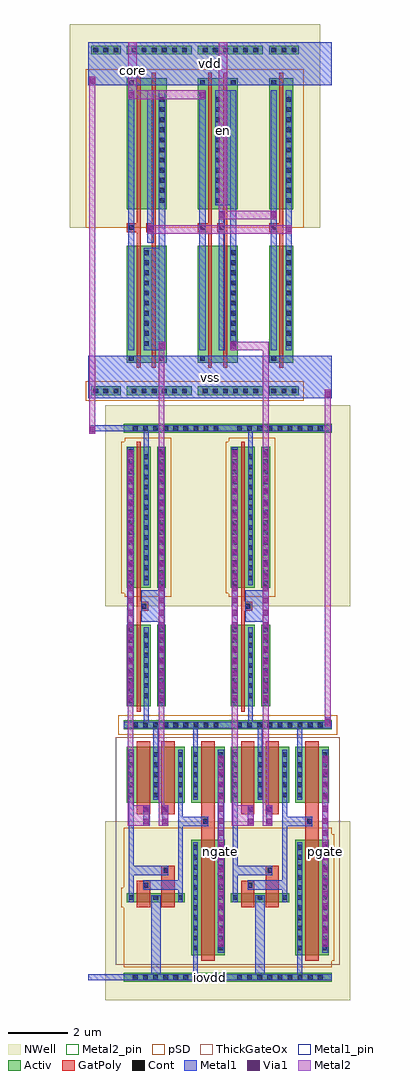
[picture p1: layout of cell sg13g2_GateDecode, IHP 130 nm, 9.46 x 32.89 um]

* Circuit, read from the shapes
.subckt sg13g2_GateDecode core en iovdd ngate pgate vdd vss
XM1 vss n1 n2 vss sg13_hv_nmos w=1.9u l=0.45u
XM2 vss sg13g2_LevelUp_4/i n1 vss sg13_lv_nmos w=2.75u l=0.13u
XM3 sg13g2_LevelUp_4/i core vss vss sg13_lv_nmos w=3.93u l=0.13u
XM4 vss sg13g2_io_nor2_x1_1/i1 sg13g2_LevelUp_4/i vss sg13_lv_nmos w=3.93u l=0.13u
XM5 n3 sg13g2_LevelUp_4/i vss vss sg13_hv_nmos w=1.9u l=0.45u
XM6 ngate n3 vss vss sg13_hv_nmos w=1.9u l=0.45u
XM7 n4 core vss vss sg13_lv_nmos w=3.93u l=0.13u
XM8 sg13g2_LevelUp_5/i en n4 vss sg13_lv_nmos w=3.93u l=0.13u
XM9 vss n5 n6 vss sg13_hv_nmos w=1.9u l=0.45u
XM10 vss sg13g2_LevelUp_5/i n5 vss sg13_lv_nmos w=2.75u l=0.13u
XM11 n7 sg13g2_LevelUp_5/i vss vss sg13_hv_nmos w=1.9u l=0.45u
XM12 sg13g2_io_nor2_x1_1/i1 en vss vss sg13_lv_nmos w=3.93u l=0.13u
XM13 pgate n7 vss vss sg13_hv_nmos w=1.9u l=0.45u
XM14 iovdd n3 n2 iovdd sg13_hv_pmos w=0.3u l=0.45u
XM15 vdd sg13g2_LevelUp_4/i n1 vdd sg13_lv_pmos w=4.75u l=0.13u
XM16 n8 core vdd vdd sg13_lv_pmos w=4.41u l=0.13u
XM17 sg13g2_LevelUp_4/i sg13g2_io_nor2_x1_1/i1 n8 vdd sg13_lv_pmos w=4.41u l=0.13u
XM18 n3 n2 iovdd iovdd sg13_hv_pmos w=0.3u l=0.45u
XM19 ngate n3 iovdd iovdd sg13_hv_pmos w=3.9u l=0.45u
XM20 sg13g2_LevelUp_5/i core vdd vdd sg13_lv_pmos w=4.41u l=0.13u
XM21 vdd en sg13g2_LevelUp_5/i vdd sg13_lv_pmos w=4.41u l=0.13u
XM22 iovdd n7 n6 iovdd sg13_hv_pmos w=0.3u l=0.45u
XM23 vdd sg13g2_LevelUp_5/i n5 vdd sg13_lv_pmos w=4.75u l=0.13u
XM24 n7 n6 iovdd iovdd sg13_hv_pmos w=0.3u l=0.45u
XM25 sg13g2_io_nor2_x1_1/i1 en vdd vdd sg13_lv_pmos w=4.41u l=0.13u
XM26 pgate n7 iovdd iovdd sg13_hv_pmos w=3.9u l=0.45u
.ends

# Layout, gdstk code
import gdstk
lib = gdstk.Library(unit=1e-6, precision=1e-09)
def R(c, l, rs):  # rectangles x0, y0, x1, y1
    for r in rs: c.add(gdstk.rectangle(r[:2], r[2:], *l))
def A(c, l, x, y, w, h, nx, ny, dx, dy):  # array of equal rectangles
    R(c, l, [(x+i*dx, y+j*dy, x+i*dx+w, y+j*dy+h) for i in range(nx) for j in range(ny)])
def P(c, l, *ps):  # polygons
    for p in ps: c.add(gdstk.Polygon(p, *l))
Activ = (1, 0)
GatPoly = (5, 0)
Cont = (6, 0)
Metal1 = (8, 0)
Metal1_pin = (8, 2)
Metal2 = (10, 0)
Metal2_pin = (10, 2)
pSD = (14, 0)
Via1 = (19, 0)
NWell = (31, 0)
ThickGateOx = (44, 0)

sg13g2_io_tie = lib.new_cell('sg13g2_io_tie')
R(sg13g2_io_tie, Activ, [(0.105,0.105,1.095,0.405), (0.11,0.105,1.09,0.405), (0.105,11.595,1.095,11.895), (0.11,11.595,1.09,11.895)])
A(sg13g2_io_tie, Cont, 0.18, 0.175, 0.16, 0.16, 3, 2, 0.34, 11.49)
R(sg13g2_io_tie, Metal1, [(0,0,1.2,1.44), (0.18,0.095,1.02,0.415), (0,10.56,1.2,12), (0.18,11.585,1.02,11.905)])
R(sg13g2_io_tie, Metal1_pin, [(0,0,1.2,1.44), (0,10.56,1.2,12)])
R(sg13g2_io_tie, pSD, [(-0.075,-0.075,1.275,0.585), (-0.07,-0.075,1.27,0.585), (-0.075,5.76,1.275,11.09)])
R(sg13g2_io_tie, NWell, [(-0.62,5.76,1.82,12.62), (-0.515,10.975,1.715,12.515), (-0.51,10.975,1.71,12.515)])
sg13g2_io_tie.add(gdstk.Label('vdd', (0.6,11.28), layer=8, texttype=25))
sg13g2_io_tie.add(gdstk.Label('vss', (0.6,0.72), layer=8, texttype=25))

sg13g2_io_nor2_x1 = lib.new_cell('sg13g2_io_nor2_x1')
R(sg13g2_io_nor2_x1, Activ, [(0.105,0.105,2.295,0.405), (0.2,0.105,2.2,0.405), (0.105,1.21,0.405,5.14), (0.105,1.21,0.375,5.14), (0.105,1.21,0.405,1.51), (0.215,1.21,0.805,5.14), (0.615,1.21,0.915,5.14), (0.645,1.21,0.885,5.14), (0.725,1.21,1.315,5.14), (1.145,1.21,1.445,5.14), (1.145,1.21,1.445,1.51), (1.155,1.21,1.445,5.14), (0.615,1.705,0.915,5.065), (0.105,6.38,0.375,10.79), (0.105,6.38,0.405,10.79), (0.215,6.38,0.805,10.79), (0.58,6.38,0.95,10.79), (0.645,6.38,0.885,10.79), (0.725,6.38,1.315,10.79), (1.145,6.38,1.445,10.79), (1.155,6.38,1.445,10.79), (1.145,6.525,1.445,10.225), (0.105,10.49,0.405,10.79), (0.105,11.595,2.295,11.895), (0.2,11.595,2.2,11.895)])
R(sg13g2_io_nor2_x1, GatPoly, [(0.445,1.03,0.575,5.32), (0.445,1.03,0.575,6.2), (0.955,1.03,1.085,5.32), (0.955,1.03,1.085,6.2), (0.105,5.61,0.405,5.91), (0.255,5.61,0.51,5.91), (0.755,5.61,1.055,5.91), (0.905,5.61,1.02,5.91), (0.445,6.2,0.575,10.97), (0.955,6.2,1.085,10.97)])
A(sg13g2_io_nor2_x1, Cont, 0.27, 0.175, 0.16, 0.16, 6, 2, 0.34, 11.49)
A(sg13g2_io_nor2_x1, Cont, 0.685, 1.775, 0.16, 0.16, 1, 10, 0, 0.34)
A(sg13g2_io_nor2_x1, Cont, 1.215, 6.595, 0.16, 0.16, 1, 11, 0, 0.34)
R(sg13g2_io_nor2_x1, Cont, [(0.175,1.28,0.335,1.44), (1.215,1.28,1.375,1.44), (0.175,5.68,0.335,5.84), (0.825,5.68,0.985,5.84), (0.175,10.56,0.335,10.72)])
R(sg13g2_io_nor2_x1, Metal1, [(0,0,2.4,1.44), (0.27,0.095,2.13,0.415), (0.095,1.28,0.415,1.44), (1.135,1.28,1.455,1.44), (0.15,1.62,0.36,10.38), (0.685,1.62,0.845,5.075), (0.765,1.62,1.295,5.075), (1.19,1.62,1.4,10.38), (0.685,1.695,0.845,5.075), (1.19,4.755,1.4,5.075), (0.8,5.255,1.01,10.38), (0.175,5.6,0.335,5.92), (0.825,5.6,0.985,5.92), (1.215,6.515,1.375,10.235), (1.215,6.515,1.375,10.38), (0,10.56,2.4,12), (0.095,10.56,0.415,10.72), (0.27,11.585,2.13,11.905)])
R(sg13g2_io_nor2_x1, Metal1_pin, [(0,0,2.4,1.44), (0.15,1.62,0.36,10.38), (1.19,1.62,1.4,10.38), (0.8,5.255,1.01,10.38), (0,10.56,2.4,12)])
A(sg13g2_io_nor2_x1, pSD, 0.145, 6.08, 0.73, 5.01, 3, 1, 0.255, 0)
R(sg13g2_io_nor2_x1, pSD, [(-0.075,-0.075,2.475,0.585), (0.02,-0.075,2.38,0.585), (-0.075,5.76,2.475,11.09), (-0.075,6.08,0.585,11.09), (-0.075,6.08,0.555,11.09), (0.465,6.08,1.065,11.09), (0.965,6.08,1.625,11.09), (0.975,6.08,1.625,11.09), (0.035,6.2,0.985,10.97), (0.545,6.2,1.495,10.97), (0.965,6.225,1.625,10.525), (-0.075,10.19,0.585,11.09)])
R(sg13g2_io_nor2_x1, NWell, [(-0.62,5.76,3.02,12.62), (-0.515,5.76,1.025,11.41), (-0.405,5.76,1.425,11.41), (-0.04,5.76,1.57,11.41), (0.105,5.76,1.935,11.41), (0.525,5.76,2.065,11.41), (0.525,5.905,2.065,10.845), (-0.515,9.87,1.025,11.41), (-0.515,10.975,2.915,12.515), (-0.42,10.975,2.82,12.515)])
sg13g2_io_nor2_x1.add(gdstk.Label('vss', (1.2,0.72), layer=8, texttype=25))
sg13g2_io_nor2_x1.add(gdstk.Label('vdd', (1.2,11.28), layer=8, texttype=25))
sg13g2_io_nor2_x1.add(gdstk.Label('nq', (1.295,6), layer=8, texttype=25))
sg13g2_io_nor2_x1.add(gdstk.Label('i0', (0.255,6), layer=8, texttype=25))
sg13g2_io_nor2_x1.add(gdstk.Label('i1', (0.905,7.818), layer=8, texttype=25))

sg13g2_io_nand2_x1 = lib.new_cell('sg13g2_io_nand2_x1')
R(sg13g2_io_nand2_x1, Activ, [(0.105,0.105,2.295,0.405), (0.2,0.105,2.2,0.405), (0.105,1.21,0.405,1.51), (0.105,1.21,0.375,5.14), (0.105,1.21,0.405,5.14), (0.215,1.21,0.805,5.14), (0.58,1.21,0.95,5.14), (0.645,1.21,0.885,5.14), (0.725,1.21,1.315,5.14), (1.145,1.21,1.445,5.14), (1.155,1.21,1.445,5.14), (1.145,1.705,1.445,5.065), (0.105,6.38,0.375,10.79), (0.105,6.38,0.405,10.79), (0.215,6.38,0.805,10.79), (0.615,6.38,0.915,10.79), (0.645,6.38,0.885,10.79), (0.725,6.38,1.315,10.79), (1.145,6.38,1.445,10.79), (1.155,6.38,1.445,10.79), (0.615,6.525,0.915,10.225), (0.105,10.49,0.405,10.79), (1.145,10.49,1.445,10.79), (0.105,11.595,2.295,11.895), (0.2,11.595,2.2,11.895)])
R(sg13g2_io_nand2_x1, GatPoly, [(0.445,1.03,0.575,5.32), (0.445,1.03,0.575,6.2), (0.955,1.03,1.085,5.32), (0.955,1.03,1.085,6.2), (0.105,5.61,0.405,5.91), (0.255,5.61,0.51,5.91), (0.755,5.61,1.055,5.91), (0.905,5.61,1.02,5.91), (0.445,6.2,0.575,10.97), (0.955,6.2,1.085,10.97)])
A(sg13g2_io_nand2_x1, Cont, 0.27, 0.175, 0.16, 0.16, 6, 2, 0.34, 11.49)
A(sg13g2_io_nand2_x1, Cont, 1.215, 1.775, 0.16, 0.16, 1, 10, 0, 0.34)
A(sg13g2_io_nand2_x1, Cont, 0.685, 6.595, 0.16, 0.16, 1, 11, 0, 0.34)
R(sg13g2_io_nand2_x1, Cont, [(0.175,1.28,0.335,1.44), (0.175,5.68,0.335,5.84), (0.825,5.68,0.985,5.84), (0.175,10.56,0.335,10.72), (1.215,10.56,1.375,10.72)])
R(sg13g2_io_nand2_x1, Metal1, [(0,0,2.4,1.44), (0.27,0.095,2.13,0.415), (0.095,1.28,0.415,1.44), (0.15,1.62,0.36,10.38), (0.8,1.62,1.01,6.335), (1.19,1.62,1.4,10.38), (1.215,1.62,1.375,5.075), (1.215,1.695,1.375,5.075), (0.175,5.6,0.335,5.92), (0.825,5.6,0.985,5.92), (0.685,6.515,0.845,10.235), (0.685,6.515,0.845,10.38), (0.765,6.515,1.295,10.38), (1.19,6.515,1.4,6.835), (0,10.56,2.4,12), (0.095,10.56,0.415,10.72), (1.135,10.56,1.455,10.72), (0.27,11.585,2.13,11.905)])
R(sg13g2_io_nand2_x1, Metal1_pin, [(0,0,2.4,1.44), (0.15,1.62,0.36,10.38), (0.8,1.62,1.01,6.335), (1.19,1.62,1.4,10.38), (0,10.56,2.4,12)])
R(sg13g2_io_nand2_x1, pSD, [(-0.075,-0.075,2.475,0.585), (0.02,-0.075,2.38,0.585), (-0.075,5.76,2.475,11.09), (-0.075,6.08,0.585,11.09), (-0.075,6.08,0.555,11.09), (0.145,6.08,0.875,11.09), (0.435,6.08,1.095,11.09), (0.465,6.08,1.065,11.09), (0.655,6.08,1.385,11.09), (0.965,6.08,1.625,11.09), (0.975,6.08,1.625,11.09), (0.035,6.2,0.985,10.97), (0.545,6.2,1.495,10.97), (0.435,6.225,1.095,10.525), (-0.075,10.19,0.585,11.09), (0.965,10.19,1.625,11.09)])
R(sg13g2_io_nand2_x1, NWell, [(-0.62,5.76,3.02,12.62), (-0.515,5.76,1.025,11.41), (-0.405,5.76,1.425,11.41), (-0.005,5.76,1.535,11.41), (0.105,5.76,1.935,11.41), (0.525,5.76,2.065,11.41), (-0.005,5.905,1.535,10.845), (-0.515,9.87,1.025,11.41), (0.525,9.87,2.065,11.41), (-0.515,10.975,2.915,12.515), (-0.42,10.975,2.82,12.515)])
sg13g2_io_nand2_x1.add(gdstk.Label('vss', (1.2,0.72), layer=8, texttype=25))
sg13g2_io_nand2_x1.add(gdstk.Label('vdd', (1.2,11.28), layer=8, texttype=25))
sg13g2_io_nand2_x1.add(gdstk.Label('i0', (0.255,6), layer=8, texttype=25))
sg13g2_io_nand2_x1.add(gdstk.Label('i1', (0.905,3.978), layer=8, texttype=25))
sg13g2_io_nand2_x1.add(gdstk.Label('nq', (1.295,6), layer=8, texttype=25))

sg13g2_io_inv_x1 = lib.new_cell('sg13g2_io_inv_x1')
R(sg13g2_io_inv_x1, Activ, [(0.105,0.105,1.095,0.405), (0.11,0.105,1.09,0.405), (0.105,1.21,0.405,1.51), (0.105,1.21,0.375,5.14), (0.105,1.21,0.405,5.14), (0.215,1.21,0.805,5.14), (0.615,1.21,0.915,5.14), (0.645,1.21,0.915,5.14), (0.615,1.705,0.915,5.065), (0.105,6.38,0.375,10.79), (0.105,6.38,0.405,10.79), (0.215,6.38,0.805,10.79), (0.615,6.38,0.915,10.79), (0.645,6.38,0.915,10.79), (0.615,6.525,0.915,10.225), (0.105,10.49,0.405,10.79), (0.105,11.595,1.095,11.895), (0.11,11.595,1.09,11.895)])
R(sg13g2_io_inv_x1, GatPoly, [(0.445,1.03,0.575,5.32), (0.445,1.03,0.575,6.2), (0.105,5.61,0.405,5.91), (0.255,5.61,0.51,5.91), (0.445,6.2,0.575,10.97)])
A(sg13g2_io_inv_x1, Cont, 0.18, 0.175, 0.16, 0.16, 3, 2, 0.34, 11.49)
A(sg13g2_io_inv_x1, Cont, 0.685, 1.775, 0.16, 0.16, 1, 10, 0, 0.34)
A(sg13g2_io_inv_x1, Cont, 0.685, 6.595, 0.16, 0.16, 1, 11, 0, 0.34)
R(sg13g2_io_inv_x1, Cont, [(0.175,1.28,0.335,1.44), (0.175,5.68,0.335,5.84), (0.175,10.56,0.335,10.72)])
R(sg13g2_io_inv_x1, Metal1, [(0,0,1.2,1.44), (0.18,0.095,1.02,0.415), (0.095,1.28,0.415,1.44), (0.15,1.62,0.36,10.38), (0.66,1.62,0.87,10.38), (0.685,1.62,0.845,5.075), (0.685,1.695,0.845,5.075), (0.175,5.6,0.335,5.92), (0.685,6.515,0.845,10.38), (0.685,6.515,0.845,10.235), (0,10.56,1.2,12), (0.095,10.56,0.415,10.72), (0.18,11.585,1.02,11.905)])
R(sg13g2_io_inv_x1, Metal1_pin, [(0,0,1.2,1.44), (0.15,1.62,0.36,10.38), (0.66,1.62,0.87,10.38), (0,10.56,1.2,12)])
R(sg13g2_io_inv_x1, pSD, [(-0.075,-0.075,1.275,0.585), (-0.07,-0.075,1.27,0.585), (-0.075,5.76,1.275,11.09), (-0.075,6.08,0.585,11.09), (-0.075,6.08,0.555,11.09), (0.145,6.08,0.875,11.09), (0.435,6.08,1.095,11.09), (0.465,6.08,1.095,11.09), (0.035,6.2,0.985,10.97), (0.435,6.225,1.095,10.525), (-0.075,10.19,0.585,11.09)])
R(sg13g2_io_inv_x1, NWell, [(-0.62,5.76,1.82,12.62), (-0.515,5.76,1.025,11.41), (-0.405,5.76,1.425,11.41), (-0.005,5.76,1.535,11.41), (-0.005,5.905,1.535,10.845), (-0.515,9.87,1.025,11.41), (-0.515,10.975,1.715,12.515), (-0.51,10.975,1.71,12.515)])
sg13g2_io_inv_x1.add(gdstk.Label('vss', (0.6,0.72), layer=8, texttype=25))
sg13g2_io_inv_x1.add(gdstk.Label('vdd', (0.6,11.28), layer=8, texttype=25))
sg13g2_io_inv_x1.add(gdstk.Label('nq', (0.765,6), layer=8, texttype=25))
sg13g2_io_inv_x1.add(gdstk.Label('i', (0.255,6), layer=8, texttype=25))

sg13g2_levelup = lib.new_cell('sg13g2_LevelUp')
R(sg13g2_levelup, Activ, [(0,-0.15,3.51,0.15), (2.275,0.73,3.405,4.63), (0.105,2.53,2.065,2.83), (0.105,5.87,1.235,7.77), (1.15,5.87,1.85,7.77), (1.765,5.87,2.065,7.77), (2.275,5.87,3.405,7.77), (0,8.35,3.51,8.65), (0.105,9.13,0.915,11.88), (1.125,9.13,1.425,11.88), (0.105,13.12,0.915,17.87), (1.125,13.12,1.425,17.87), (0,18.35,3.51,18.65)])
R(sg13g2_levelup, GatPoly, [(2.615,0.55,3.065,7.95), (0.445,2.35,0.895,3.25), (0.445,2.35,0.895,3.01), (1.275,2.35,1.725,3.75), (1.275,3.45,1.575,3.75), (0.445,5.49,0.895,7.95), (1.275,5.49,1.725,7.95)])
P(sg13g2_levelup, GatPoly, [(1.275,5.49),(1.275,7.95),(1.725,7.95),(1.725,5.69),(1.575,5.69),(1.575,5.49)],
  [(0.445,8.95),(0.445,18.05),(0.575,18.05),(0.575,12.65),(0.825,12.65),(0.825,12.35),(0.575,12.35),(0.575,8.95)],
  [(0.595,5.49),(0.595,5.69),(0.445,5.69),(0.445,7.95),(0.895,7.95),(0.895,5.49)])
A(sg13g2_levelup, Cont, 0.315, -0.08, 0.16, 0.16, 9, 2, 0.34, 8.5)
A(sg13g2_levelup, Cont, 2.345, 0.9, 0.16, 0.16, 1, 11, 0, 0.34)
A(sg13g2_levelup, Cont, 3.175, 0.9, 0.16, 0.16, 1, 11, 0, 0.34)
A(sg13g2_levelup, Cont, 0.175, 2.6, 0.16, 0.16, 3, 2, 0.83, 3.46)
A(sg13g2_levelup, Cont, 2.345, 6.06, 0.16, 0.16, 1, 5, 0, 0.34)
A(sg13g2_levelup, Cont, 3.175, 6.06, 0.16, 0.16, 1, 5, 0, 0.34)
A(sg13g2_levelup, Cont, 0.175, 6.4, 0.16, 0.16, 3, 4, 0.83, 0.34)
A(sg13g2_levelup, Cont, 0.175, 9.235, 0.16, 0.16, 1, 8, 0, 0.34)
A(sg13g2_levelup, Cont, 1.195, 9.235, 0.16, 0.16, 1, 8, 0, 0.34)
A(sg13g2_levelup, Cont, 0.685, 9.405, 0.16, 0.16, 1, 7, 0, 0.34)
A(sg13g2_levelup, Cont, 0.175, 13.205, 0.16, 0.16, 1, 14, 0, 0.34)
A(sg13g2_levelup, Cont, 1.195, 13.205, 0.16, 0.16, 1, 14, 0, 0.34)
A(sg13g2_levelup, Cont, 0.685, 13.375, 0.16, 0.16, 1, 13, 0, 0.34)
A(sg13g2_levelup, Cont, 0.315, 18.42, 0.16, 0.16, 9, 1, 0.34, 0)
R(sg13g2_levelup, Cont, [(0.665,3.02,0.825,3.18), (1.345,3.52,1.505,3.68), (2.685,5.17,2.845,5.33), (0.665,5.56,0.825,5.72), (1.345,5.56,1.505,5.72), (0.595,12.42,0.755,12.58)])
R(sg13g2_levelup, Metal1, [(3.175,0.82,3.385,7.66), (0.665,2.94,0.825,3.26), (1.345,3.44,1.505,3.76), (0.665,5.1,0.875,5.8), (1.295,5.1,1.505,5.8), (1.345,5.48,1.505,5.8), (0.125,9.155,0.335,17.865)])
P(sg13g2_levelup, Metal1, [(0.685,13.21),(0.685,18.395),(0,18.395),(0,18.605),(3.51,18.605),(3.51,18.395),(0.845,18.395),(0.845,13.21)],
  [(1.005,5.98),(1.005,8.395),(0,8.395),(0,8.605),(0.685,8.605),(0.685,11.79),(0.845,11.79),(0.845,8.605),(3.51,8.605),(3.51,8.395),(2.505,8.395),(2.505,5.98),(2.345,5.98),(2.345,8.395),(1.165,8.395),(1.165,5.98)],
  [(1.17,9.155),(1.17,11.97),(0.595,11.97),(0.595,13.03),(1.17,13.03),(1.17,17.865),(1.38,17.865),(1.38,9.155)],
  [(0.175,2.52),(0.175,7.66),(0.335,7.66),(0.335,3.76),(1.505,3.76),(1.505,3.44),(0.335,3.44),(0.335,2.52)],
  [(0,-0.105),(0,0.105),(0.925,0.105),(0.925,2.76),(1.245,2.76),(1.245,0.105),(2.345,0.105),(2.345,4.54),(2.505,4.54),(2.505,0.105),(3.51,0.105),(3.51,-0.105)],
  [(1.835,2.52),(1.835,2.94),(0.665,2.94),(0.665,3.26),(1.835,3.26),(1.835,7.66),(1.995,7.66),(1.995,5.41),(2.845,5.41),(2.845,5.09),(1.995,5.09),(1.995,2.52)])
R(sg13g2_levelup, Metal1_pin, [(0,-0.105,3.51,0.105), (0,8.395,3.51,8.605), (0,18.395,3.51,18.605)])
R(sg13g2_levelup, Metal2, [(3.18,1.02,3.38,7.46)])
P(sg13g2_levelup, Metal2, [(0.13,5.1),(0.13,17.755),(0.33,17.755),(0.33,5.8),(0.87,5.8),(0.87,5.1)],
  [(1.175,5.1),(1.175,17.755),(1.375,17.755),(1.375,5.8),(1.5,5.8),(1.5,5.1)])
R(sg13g2_levelup, Metal2_pin, [(3.18,1.02,3.38,7.46), (1.175,9.265,1.375,17.755)])
R(sg13g2_levelup, pSD, [(-0.18,8.17,3.69,8.83)])
P(sg13g2_levelup, pSD, [(0,0.33),(0,2.35),(-0.075,2.35),(-0.075,3.01),(0,3.01),(0,5.03),(3.51,5.03),(3.51,4.81),(3.585,4.81),(3.585,0.55),(3.51,0.55),(3.51,0.33)],
  [(0.035,12.82),(0.035,12.94),(-0.075,12.94),(-0.075,18.05),(0.035,18.05),(0.035,18.17),(1.605,18.17),(1.605,12.82)])
A(sg13g2_levelup, Via1, 3.185, 1.07, 0.19, 0.19, 1, 16, 0, 0.41)
A(sg13g2_levelup, Via1, 0.135, 9.315, 0.19, 0.19, 1, 21, 0, 0.41)
A(sg13g2_levelup, Via1, 1.18, 9.315, 0.19, 0.19, 1, 21, 0, 0.41)
R(sg13g2_levelup, Via1, [(0.675,5.15,0.865,5.34), (1.305,5.15,1.495,5.34), (0.675,5.56,0.865,5.75), (1.305,5.56,1.495,5.75)])
R(sg13g2_levelup, NWell, [(-0.62,-0.77,4.13,5.25), (-0.62,12.5,4.13,19.27)])
R(sg13g2_levelup, ThickGateOx, [(-0.27,0.42,3.78,8.08)])
sg13g2_levelup.add(gdstk.Label('vdd', (1.755,18.5), layer=8, texttype=25))
sg13g2_levelup.add(gdstk.Label('vss', (1.755,8.5), layer=8, texttype=25))
sg13g2_levelup.add(gdstk.Label('iovdd', (1.755,0), layer=8, texttype=25))
sg13g2_levelup.add(gdstk.Label('i', (1.275,13.51), layer=10, texttype=25))
sg13g2_levelup.add(gdstk.Label('o', (3.28,4.24), layer=10, texttype=25))

sg13g2_gatedecode = lib.new_cell('sg13g2_GateDecode')
R(sg13g2_gatedecode, Metal1, [(0,-19.605,8.22,-19.395), (7.97,-11.04,8.18,-10.75), (0,0,8.22,1.44), (2.39,1.62,2.6,1.91), (4.79,1.62,5,1.91), (2,5.545,2.21,5.835), (6.66,5.545,6.87,5.835), (4.4,6.045,4.61,6.335), (6.15,6.045,6.36,6.335), (1.35,10.09,1.56,10.38), (3.75,10.09,3.96,10.38), (0,10.56,8.22,12)])
P(sg13g2_gatedecode, Metal1, [(0.04,-1.185),(0.04,-0.895),(4.71,-0.895),(4.71,-1.105),(0.25,-1.105),(0.25,-1.185)])
R(sg13g2_gatedecode, Metal1_pin, [(0,-19.605,8.22,-19.395), (0,0,8.22,1.44), (0,10.56,8.22,12)])
R(sg13g2_gatedecode, Metal2, [(4.38,-18.48,4.58,-12.04), (7.89,-18.48,8.09,-12.04), (7.975,-11.04,8.175,0.29), (0.045,-1.185,0.245,10.85), (2.005,5.545,6.865,5.835)])
P(sg13g2_gatedecode, Metal2, [(4.405,6.045),(4.405,12),(4.695,12),(4.695,6.335),(6.355,6.335),(6.355,6.045)],
  [(1.355,10.09),(1.355,12),(1.645,12),(1.645,10.38),(3.955,10.38),(3.955,10.09)],
  [(2.375,-10.235),(2.375,1.91),(2.595,1.91),(2.595,1.62),(2.575,1.62),(2.575,-10.235)],
  [(5.885,-10.235),(5.885,1.62),(4.795,1.62),(4.795,1.91),(6.085,1.91),(6.085,-10.235)])
R(sg13g2_gatedecode, Metal2_pin, [(4.38,-18.48,4.58,-12.04), (7.89,-18.48,8.09,-12.04), (4.405,6.045,4.695,12), (1.355,10.09,1.645,12)])
R(sg13g2_gatedecode, Via1, [(7.98,-10.99,8.17,-10.8), (0.05,-1.135,0.24,-0.945), (7.98,0.05,8.17,0.24), (2.4,1.67,2.59,1.86), (4.8,1.67,4.99,1.86), (2.01,5.595,2.2,5.785), (6.67,5.595,6.86,5.785), (4.41,6.095,4.6,6.285), (6.16,6.095,6.35,6.285), (1.36,10.14,1.55,10.33), (3.76,10.14,3.95,10.33), (0.05,10.61,0.24,10.8)])
sg13g2_gatedecode.add(gdstk.Reference(sg13g2_io_tie, (0,0)))
sg13g2_gatedecode.add(gdstk.Reference(sg13g2_io_nor2_x1, (1.2,0)))
sg13g2_gatedecode.add(gdstk.Reference(sg13g2_io_nand2_x1, (3.6,0)))
sg13g2_gatedecode.add(gdstk.Reference(sg13g2_io_inv_x1, (6,0)))
sg13g2_gatedecode.add(gdstk.Reference(sg13g2_levelup, (1.2,-19.5)))
sg13g2_gatedecode.add(gdstk.Reference(sg13g2_levelup, (4.71,-19.5)))
sg13g2_gatedecode.add(gdstk.Label('vss', (4.11,0.72), layer=8, texttype=25))
sg13g2_gatedecode.add(gdstk.Label('vdd', (4.11,11.28), layer=8, texttype=25))
sg13g2_gatedecode.add(gdstk.Label('iovdd', (4.11,-19.5), layer=8, texttype=25))
sg13g2_gatedecode.add(gdstk.Label('en', (4.55,9.023), layer=10, texttype=25))
sg13g2_gatedecode.add(gdstk.Label('core', (1.5,11.045), layer=10, texttype=25))
sg13g2_gatedecode.add(gdstk.Label('ngate', (4.48,-15.26), layer=10, texttype=25))
sg13g2_gatedecode.add(gdstk.Label('pgate', (7.99,-15.26), layer=10, texttype=25))

lib.write_gds('sg13g2_GateDecode.gds')
